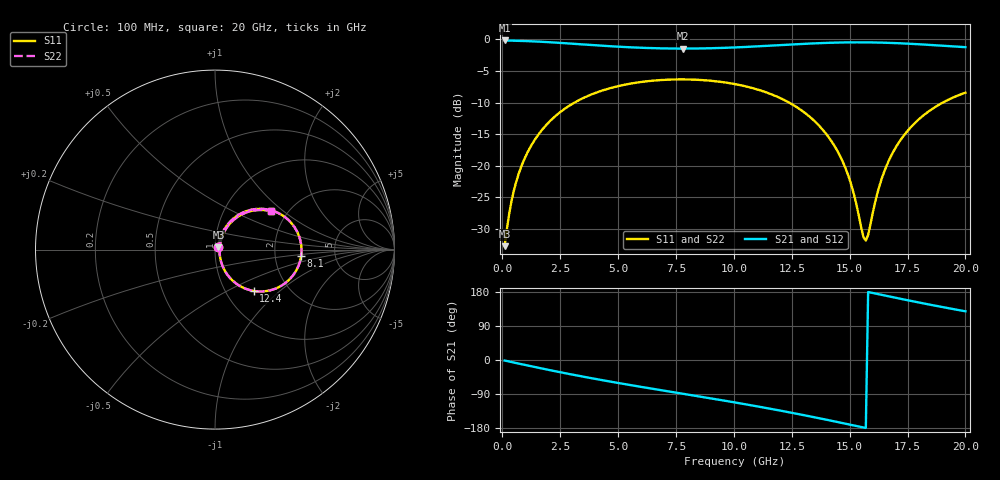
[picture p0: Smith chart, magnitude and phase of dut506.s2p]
! Touchstone file exported from HFSS 2026.1.0
!  File:  C:/ffzhzh/LocalFiles/Ansys_Project_Files/temp_train_TSV_RDL_506_1783108175_46604.aedt
!  Generated:  04:01:02 AM Jul  4, 2026
!  Design:  TSV_RDL
!  Project:  temp_train_TSV_RDL_506_1783108175_46604
! Variables:
!  h_bsmrdl = 4.43um
!  h_ox = 20um
!  h_rdl = 5um
!  h_sub = 70.22um
!  h_tmrdl = 3.35um
!  h_tsv = 70.22um
!  h_via = 3um
!  l_bsmrdl = 939.2um
!  l_sub = 3928.43um
!  l_tmrdl = 151.6um
!  m_sub = 200um
!  pitch = 35.94um
!  r_tsv = 5.94um
!  s_tmrdl = 10um
!  w_bsmrdl = 16.72um
!  w_sub = 500um
!  w_tmrdl = 18.09um
!  x_tsv_center1 = 160.645um
!  x_tsv_center2 = 1116.565um
!  x_tsv_center3 = 1286.255um
!  x_tsv_center4 = 2242.175um
!  x_tsv_center5 = 2411.865um
!  x_tsv_center6 = 3367.785um
# GHz S MA R 50.000000
! Terminal data exported
! Port[1] = TM_RDL1_1_T1
! Port[2] = TM_RDL5_1_T1
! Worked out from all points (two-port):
!   200 points, 100 MHz to 20 GHz, reference 50 ohm
!   highest |S21| = -0.17 dB at 100 MHz (marker M1); lowest = -1.5 dB at 7.8 GHz (marker M2)
!   |S21| within 3 dB of the highest: start of sweep to end of sweep
!   lowest |S11| = -32.8 dB at 100 MHz (marker M3), VSWR 1.05, Z = 52 + j1.27 ohm
!   |S11| at or under -10 dB: start of sweep to 3.127 GHz; 12.38 GHz to 19.03 GHz (6.652 GHz wide, 42.4 % of centre)
!   |S22| runs from -32.8 to -6.3 dB; largest |S21 - S12| = 1.6e-14
!   S11 on the Smith chart (normalised r, x): 100 MHz: 1.04, +0.03; 8.1 GHz: 2.83, -0.27; 12.4 GHz: 1.35, -0.69; 20 GHz: 1.66, +0.82
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0.1  0.023 32.0  0.9807 -1.4  0.9807 -1.4  0.023 32.0
! Gamma 0 0 0 0
! Port Impedance 50 0 50 0
0.3  0.04179 57.2  0.9787 -4.1  0.9787 -4.1  0.04179 57.2
0.5  0.06345 63.8  0.9765 -6.7  0.9765 -6.7  0.06346 63.8
1.1  0.1283 65.0  0.9687 -14.6  0.9687 -14.6  0.1283 65.0
2.1  0.229 56.4  0.9484 -27.3  0.9484 -27.3  0.229 56.4
3.5  0.3433 41.5  0.9117 -44.1  0.9117 -44.1  0.3433 41.5
5  0.4261 25.8  0.8755 -60.6  0.8755 -60.6  0.4261 25.8
6.8  0.4757 8.1  0.8495 -79.1  0.8495 -79.1  0.4757 8.1
7.8  0.482 -1.4  0.8456 -89.1  0.8456 -89.1  0.482 -1.4
8.1  0.4811 -4.3  0.8459 -92.1  0.8459 -92.1  0.4811 -4.3
10.1  0.4405 -23.6  0.8644 -112.6  0.8644 -112.6  0.4406 -23.7
12.4  0.3147 -47.0  0.9094 -138.1  0.9094 -138.1  0.3148 -47.0
13.4  0.2329 -57.0  0.9289 -150.2  0.9289 -150.2  0.233 -57.0
14.1  0.1674 -63.0  0.9395 -158.9  0.9395 -158.9  0.1675 -63.0
14.7  0.1077 -65.4  0.9454 -166.5  0.9454 -166.5  0.1077 -65.5
15.1  0.06759 -62.0  0.9475 -171.6  0.9475 -171.6  0.06761 -62.1
15.6  0.02707 -20.2  0.9477 -178.1  0.9477 -178.1  0.02701 -20.4
15.7  0.02551 1.8  0.9474 -179.4  0.9474 -179.4  0.02542 1.7
16.3  0.07025 59.7  0.9434 172.9  0.9434 172.9  0.07016 59.7
16.7  0.1102 62.6  0.9388 167.8  0.9388 167.8  0.1101 62.7
18  0.2337 54.1  0.915 151.6  0.915 151.6  0.2336 54.1
20  0.3784 34.3  0.8676 128.5  0.8676 128.5  0.3783 34.2
